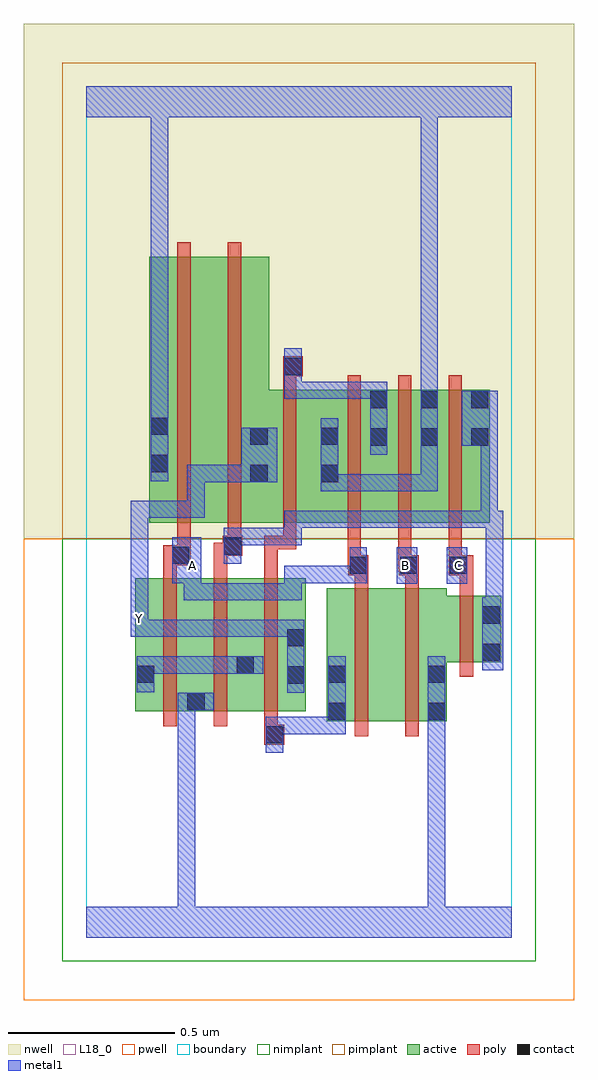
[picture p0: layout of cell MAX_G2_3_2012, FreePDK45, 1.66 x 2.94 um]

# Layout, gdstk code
import gdstk
lib = gdstk.Library(unit=1e-6, precision=1e-09)
def R(c, l, rs):  # rectangles x0, y0, x1, y1
    for r in rs: c.add(gdstk.rectangle(r[:2], r[2:], *l))
def A(c, l, x, y, w, h, nx, ny, dx, dy):  # array of equal rectangles
    R(c, l, [(x+i*dx, y+j*dy, x+i*dx+w, y+j*dy+h) for i in range(nx) for j in range(ny)])
active = (1, 0)
pwell = (2, 0)
nwell = (3, 0)
nimplant = (4, 0)
pimplant = (5, 0)
poly = (9, 0)
contact = (10, 0)
metal1 = (11, 0)
L18_0 = (18, 0)
boundary = (235, 0)

max_g2_3_2012 = lib.new_cell('MAX_G2_3_2012')
R(max_g2_3_2012, active, [(0.724,0.65,0.904,1.05), (0.724,0.65,0.784,1.05), (0.904,0.65,1.084,1.05), (1.024,0.65,1.084,1.012), (0.148,0.68,0.208,1.08), (0.148,0.68,0.36,1.08), (0.3,0.68,0.508,1.08), (0.3,0.68,0.36,0.948), (0.448,0.68,0.66,1.08), (0.448,0.68,0.508,1.064), (0.6,0.68,0.66,1.08), (1.024,0.828,1.248,1.028), (1.188,0.828,1.248,1.028), (0.19,1.248,0.37,2.048), (0.19,1.248,0.25,2.044), (0.37,1.248,0.55,2.048), (0.49,1.248,0.762,1.648), (0.702,1.248,0.91,1.648), (0.85,1.248,1.062,1.648), (1.002,1.248,1.214,1.648), (1.154,1.248,1.214,1.648), (0.49,1.366,0.55,1.8), (0.702,1.366,0.762,1.644), (1.002,1.366,1.062,1.648), (0.85,1.448,0.91,1.648)])
R(max_g2_3_2012, pwell, [(-0.188,-0.188,1.468,1.2)])
R(max_g2_3_2012, nwell, [(-0.188,1.2,1.468,2.748)])
R(max_g2_3_2012, nimplant, [(-0.072,-0.072,1.352,1.2)])
R(max_g2_3_2012, pimplant, [(-0.072,1.2,1.352,2.632)])
A(max_g2_3_2012, poly, 0.232, 0.636, 0.04, 0.488, 3, 1, 0.152, 0)
A(max_g2_3_2012, poly, 0.786, 1.11, 0.04, 0.134, 3, 1, 0.152, 0)
A(max_g2_3_2012, poly, 0.786, 1.204, 0.04, 0.488, 3, 1, 0.152, 0)
R(max_g2_3_2012, poly, [(0.536,0.58,0.596,0.64), (0.536,0.6,0.576,0.676), (0.808,0.606,0.848,1.094), (0.96,0.606,1,1.094), (1.124,0.784,1.164,1.072), (1.124,1.032,1.164,1.13), (0.808,1.054,0.848,1.13), (0.96,1.054,1,1.13), (0.232,1.084,0.272,1.16), (0.384,1.084,0.424,1.188), (0.536,1.084,0.576,1.208), (0.788,1.09,0.848,1.15), (0.94,1.09,1,1.15), (1.09,1.09,1.164,1.15), (0.786,1.11,0.828,1.15), (0.788,1.11,0.828,1.15), (0.938,1.11,0.98,1.15), (0.94,1.11,0.98,1.15), (1.09,1.11,1.13,1.15), (1.09,1.11,1.13,1.15), (0.232,1.12,0.314,1.18), (0.274,1.14,0.314,1.18), (0.274,1.14,0.314,1.18), (0.274,1.14,0.314,1.244), (0.384,1.148,0.45,1.188), (0.41,1.148,0.45,1.188), (0.41,1.148,0.47,1.208), (0.426,1.168,0.466,1.244), (0.536,1.168,0.632,1.208), (0.592,1.168,0.632,1.208), (0.592,1.168,0.632,1.208), (0.592,1.168,0.632,1.244), (0.274,1.204,0.314,2.092), (0.426,1.204,0.466,2.092), (0.592,1.204,0.632,1.692), (0.592,1.652,0.632,1.728), (0.592,1.688,0.652,1.748)])
A(max_g2_3_2012, contact, 0.854, 1.48, 0.052, 0.052, 3, 2, 0.152, 0.112)
R(max_g2_3_2012, contact, [(0.54,0.584,0.592,0.636), (0.728,0.654,0.78,0.706), (1.028,0.654,1.08,0.706), (0.304,0.684,0.356,0.736), (0.604,0.764,0.656,0.816), (0.152,0.766,0.204,0.818), (0.728,0.766,0.78,0.818), (1.028,0.766,1.08,0.818), (0.452,0.794,0.504,0.846), (1.192,0.832,1.244,0.884), (0.604,0.876,0.656,0.928), (1.192,0.944,1.244,0.996), (0.792,1.094,0.844,1.146), (0.944,1.094,0.996,1.146), (1.094,1.094,1.146,1.146), (0.258,1.124,0.31,1.176), (0.414,1.152,0.466,1.204), (0.494,1.37,0.546,1.422), (0.706,1.37,0.758,1.422), (0.194,1.4,0.246,1.452), (0.494,1.482,0.546,1.534), (0.706,1.482,0.758,1.534), (0.194,1.512,0.246,1.564), (0.596,1.692,0.648,1.744)])
R(max_g2_3_2012, metal1, [(0,0,1.28,0.092), (0.276,0.04,0.328,0.092), (0.276,0.04,0.328,0.092), (0.276,0.04,0.328,0.092), (0.276,0.04,0.328,0.092), (0.276,0.04,0.328,0.092), (0.276,0.04,0.328,0.092), (0.276,0.04,0.328,0.092), (0.276,0.04,0.328,0.092), (0.276,0.04,0.328,0.092), (0.276,0.04,0.328,0.092), (0.276,0.04,0.328,0.092), (0.276,0.04,0.328,0.092), (0.276,0.04,0.328,0.736), (1.028,0.04,1.08,0.092), (1.028,0.04,1.08,0.092), (1.028,0.04,1.08,0.092), (1.028,0.04,1.08,0.092), (1.028,0.04,1.08,0.092), (1.028,0.04,1.08,0.092), (1.028,0.04,1.08,0.092), (1.028,0.04,1.08,0.092), (1.028,0.04,1.08,0.092), (1.028,0.04,1.08,0.092), (1.028,0.04,1.08,0.092), (1.028,0.04,1.08,0.092), (1.028,0.04,1.08,0.678), (0.54,0.556,0.592,0.664), (0.54,0.612,0.592,0.664), (0.54,0.612,0.592,0.664), (0.54,0.612,0.78,0.664), (0.728,0.612,0.78,0.664), (0.728,0.612,0.78,0.678), (0.728,0.626,0.78,0.846), (1.028,0.626,1.08,0.846), (0.276,0.684,0.384,0.736), (0.604,0.736,0.656,0.956), (0.152,0.738,0.204,0.846), (0.152,0.794,0.204,0.846), (0.152,0.794,0.204,0.846), (0.152,0.794,0.314,0.846), (0.262,0.794,0.314,0.846), (0.262,0.794,0.476,0.846), (0.424,0.794,0.476,0.846), (0.424,0.794,0.476,0.846), (0.424,0.794,0.532,0.846), (1.192,0.804,1.254,1.024), (0.134,0.904,0.186,0.956), (0.134,0.904,0.356,0.956), (0.134,0.904,0.186,0.958), (0.304,0.904,0.356,0.956), (0.304,0.904,0.356,0.956), (0.304,0.904,0.356,0.956), (0.304,0.904,0.466,0.956), (0.414,0.904,0.466,0.956), (0.414,0.904,0.466,0.956), (0.414,0.904,0.466,0.956), (0.414,0.904,0.648,0.956), (0.596,0.904,0.648,0.956), (0.596,0.904,0.656,0.956), (0.134,0.906,0.186,1.014), (0.134,0.962,0.186,1.314), (1.202,0.972,1.254,1.284), (1.202,0.972,1.254,1.024), (1.202,0.972,1.254,1.024), (0.294,1.014,0.346,1.118), (0.294,1.014,0.482,1.066), (0.43,1.014,0.482,1.066), (0.43,1.014,0.482,1.066), (0.43,1.014,0.482,1.066), (0.43,1.014,0.648,1.066), (0.596,1.014,0.648,1.118), (0.934,1.064,0.996,1.174), (1.084,1.064,1.146,1.174), (0.258,1.066,0.346,1.204), (0.294,1.066,0.346,1.118), (0.596,1.066,0.648,1.118), (0.596,1.066,0.648,1.118), (0.596,1.066,0.758,1.118), (0.706,1.066,0.758,1.118), (0.706,1.066,0.844,1.118), (0.792,1.066,0.844,1.174), (0.414,1.124,0.466,1.232), (0.414,1.18,0.466,1.232), (0.414,1.18,0.466,1.232), (0.414,1.18,0.648,1.232), (0.596,1.18,0.648,1.232), (0.596,1.18,0.648,1.232), (0.596,1.18,0.648,1.284), (0.596,1.232,0.796,1.284), (0.744,1.232,0.796,1.284), (0.744,1.232,0.796,1.284), (0.744,1.232,0.796,1.284), (0.744,1.232,0.948,1.284), (0.896,1.232,0.948,1.284), (0.896,1.232,0.948,1.284), (0.896,1.232,0.948,1.284), (0.896,1.232,1.072,1.284), (1.02,1.232,1.072,1.284), (1.02,1.232,1.238,1.284), (1.186,1.232,1.238,1.532), (1.186,1.232,1.238,1.284), (1.186,1.232,1.238,1.284), (1.186,1.232,1.254,1.284), (0.134,1.262,0.186,1.314), (0.134,1.262,0.356,1.314), (0.304,1.262,0.356,1.314), (0.304,1.262,0.356,1.314), (0.304,1.262,0.356,1.314), (0.304,1.262,0.356,1.422), (0.706,1.342,0.758,1.394), (0.706,1.342,0.758,1.394), (0.706,1.342,0.758,1.562), (0.706,1.342,0.906,1.394), (0.854,1.342,0.906,1.394), (0.854,1.342,0.906,1.394), (0.854,1.342,0.906,1.394), (0.854,1.342,1.058,1.394), (1.006,1.342,1.058,1.394), (1.006,1.342,1.058,1.504), (0.304,1.37,0.356,1.422), (0.304,1.37,0.466,1.422), (0.414,1.37,0.466,1.422), (0.414,1.37,0.518,1.422), (0.466,1.37,0.574,1.534), (0.194,1.372,0.246,1.592), (0.854,1.452,0.906,1.672), (1.006,1.452,1.058,1.504), (1.006,1.452,1.058,1.504), (1.006,1.452,1.058,1.504), (1.006,1.452,1.058,1.504), (1.006,1.452,1.058,1.672), (1.13,1.48,1.238,1.644), (0.194,1.54,0.246,2.52), (0.596,1.62,0.648,1.672), (0.596,1.62,0.758,1.672), (0.596,1.62,0.648,1.716), (0.706,1.62,0.758,1.672), (0.706,1.62,0.758,1.672), (0.706,1.62,0.758,1.672), (0.706,1.62,0.906,1.672), (1.006,1.62,1.058,1.672), (1.006,1.62,1.058,1.672), (1.006,1.62,1.058,1.672), (1.006,1.62,1.058,1.672), (1.006,1.62,1.058,2.52), (0.596,1.664,0.648,1.716), (0.596,1.664,0.648,1.716), (0.596,1.664,0.648,1.772), (0,2.468,1.28,2.56), (0.194,2.468,0.246,2.52), (0.194,2.468,0.246,2.52), (0.194,2.468,0.246,2.52), (0.194,2.468,0.246,2.52), (0.194,2.468,0.246,2.52), (0.194,2.468,0.246,2.52), (0.194,2.468,0.246,2.52), (0.194,2.468,0.246,2.52), (1.006,2.468,1.058,2.52), (1.006,2.468,1.058,2.52), (1.006,2.468,1.058,2.52), (1.006,2.468,1.058,2.52), (1.006,2.468,1.058,2.52), (1.006,2.468,1.058,2.52), (1.006,2.468,1.058,2.52), (1.006,2.468,1.058,2.52), (1.006,2.468,1.058,2.52), (1.006,2.468,1.058,2.52), (1.006,2.468,1.058,2.52), (1.006,2.468,1.058,2.52)])
R(max_g2_3_2012, L18_0, [(0,0,1.28,0.092), (0.276,0.04,0.328,0.092), (0.276,0.04,0.328,0.092), (0.276,0.04,0.328,0.092), (0.276,0.04,0.328,0.092), (0.276,0.04,0.328,0.092), (0.276,0.04,0.328,0.092), (0.276,0.04,0.328,0.092), (0.276,0.04,0.328,0.092), (0.276,0.04,0.328,0.092), (0.276,0.04,0.328,0.092), (0.276,0.04,0.328,0.092), (0.276,0.04,0.328,0.092), (0.276,0.04,0.328,0.736), (1.028,0.04,1.08,0.092), (1.028,0.04,1.08,0.092), (1.028,0.04,1.08,0.092), (1.028,0.04,1.08,0.092), (1.028,0.04,1.08,0.092), (1.028,0.04,1.08,0.092), (1.028,0.04,1.08,0.092), (1.028,0.04,1.08,0.092), (1.028,0.04,1.08,0.092), (1.028,0.04,1.08,0.092), (1.028,0.04,1.08,0.092), (1.028,0.04,1.08,0.092), (1.028,0.04,1.08,0.678), (1.028,0.626,1.08,0.846), (0.276,0.684,0.384,0.736), (0.604,0.736,0.656,0.956), (0.134,0.904,0.186,0.956), (0.134,0.904,0.186,0.958), (0.134,0.904,0.356,0.956), (0.304,0.904,0.356,0.956), (0.304,0.904,0.356,0.956), (0.304,0.904,0.356,0.956), (0.304,0.904,0.466,0.956), (0.414,0.904,0.466,0.956), (0.414,0.904,0.466,0.956), (0.414,0.904,0.466,0.956), (0.414,0.904,0.648,0.956), (0.596,0.904,0.648,0.956), (0.596,0.904,0.656,0.956), (0.134,0.906,0.186,1.014), (0.134,0.934,0.186,0.986), (0.134,0.962,0.186,1.314), (0.294,1.014,0.346,1.118), (0.294,1.014,0.482,1.066), (0.43,1.014,0.482,1.066), (0.43,1.014,0.482,1.066), (0.43,1.014,0.482,1.066), (0.43,1.014,0.648,1.066), (0.596,1.014,0.648,1.118), (0.934,1.064,0.996,1.174), (1.084,1.064,1.146,1.174), (0.258,1.066,0.346,1.204), (0.294,1.066,0.346,1.118), (0.596,1.066,0.648,1.118), (0.596,1.066,0.648,1.118), (0.596,1.066,0.758,1.118), (0.706,1.066,0.758,1.118), (0.706,1.066,0.844,1.118), (0.792,1.066,0.844,1.174), (0.294,1.094,0.346,1.146), (0.934,1.094,0.986,1.146), (1.094,1.094,1.146,1.146), (0.134,1.262,0.186,1.314), (0.134,1.262,0.356,1.314), (0.304,1.262,0.356,1.314), (0.304,1.262,0.356,1.314), (0.304,1.262,0.356,1.314), (0.304,1.262,0.356,1.422), (0.706,1.342,0.758,1.394), (0.706,1.342,0.758,1.394), (0.706,1.342,0.758,1.562), (0.706,1.342,0.906,1.394), (0.854,1.342,0.906,1.394), (0.854,1.342,0.906,1.394), (0.854,1.342,0.906,1.394), (0.854,1.342,1.058,1.394), (1.006,1.342,1.058,1.394), (1.006,1.342,1.058,1.504), (0.304,1.37,0.356,1.422), (0.304,1.37,0.466,1.422), (0.414,1.37,0.466,1.422), (0.414,1.37,0.518,1.422), (0.466,1.37,0.574,1.534), (0.194,1.372,0.246,1.592), (1.006,1.452,1.058,1.504), (1.006,1.452,1.058,1.504), (1.006,1.452,1.058,1.504), (1.006,1.452,1.058,1.504), (1.006,1.452,1.058,1.672), (0.194,1.54,0.246,2.52), (1.006,1.62,1.058,1.672), (1.006,1.62,1.058,1.672), (1.006,1.62,1.058,1.672), (1.006,1.62,1.058,1.672), (1.006,1.62,1.058,2.52), (0,2.468,1.28,2.56), (0.194,2.468,0.246,2.52), (0.194,2.468,0.246,2.52), (0.194,2.468,0.246,2.52), (0.194,2.468,0.246,2.52), (0.194,2.468,0.246,2.52), (0.194,2.468,0.246,2.52), (0.194,2.468,0.246,2.52), (0.194,2.468,0.246,2.52), (1.006,2.468,1.058,2.52), (1.006,2.468,1.058,2.52), (1.006,2.468,1.058,2.52), (1.006,2.468,1.058,2.52), (1.006,2.468,1.058,2.52), (1.006,2.468,1.058,2.52), (1.006,2.468,1.058,2.52), (1.006,2.468,1.058,2.52), (1.006,2.468,1.058,2.52), (1.006,2.468,1.058,2.52), (1.006,2.468,1.058,2.52), (1.006,2.468,1.058,2.52)])
R(max_g2_3_2012, boundary, [(0,0,1.28,2.56)])
max_g2_3_2012.add(gdstk.Label('A', (0.32,1.12), layer=11, texttype=0))
max_g2_3_2012.add(gdstk.Label('B', (0.96,1.12), layer=11, texttype=0))
max_g2_3_2012.add(gdstk.Label('C', (1.12,1.12), layer=11, texttype=0))
max_g2_3_2012.add(gdstk.Label('Y', (0.16,0.96), layer=11, texttype=0))

lib.write_gds('MAX_G2_3_2012.gds')
